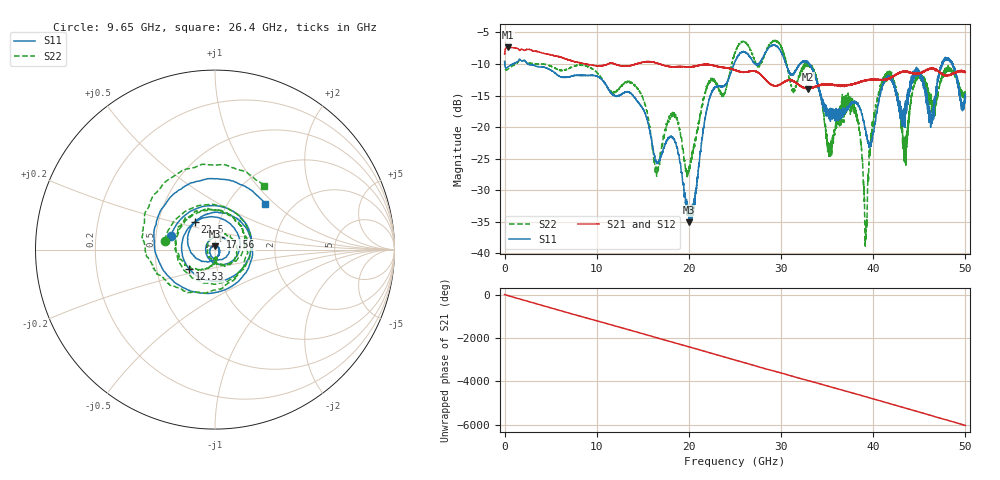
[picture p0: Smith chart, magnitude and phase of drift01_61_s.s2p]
!Created with skrf (http://scikit-rf.org).
# Hz S RI R 50.0
!freq ReS11 ImS11 ReS21 ImS21 ReS12 ImS12 ReS22 ImS22
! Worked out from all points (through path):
!   10001 points, 300 kHz to 50 GHz, reference 50 ohm
!   highest |S21| = -7.33 dB at 325.3 MHz (marker M1); lowest = -13.9 dB at 32.94 GHz (marker M2)
!   group delay of S21, straight-line fit = 335 ps
!   lowest |S11| = -35.1 dB at 20.01 GHz (marker M3), VSWR 1.04, Z = 49.9 + j1.76 ohm
!   |S11| at or under -10 dB: 2.566 GHz to 24.9 GHz (22.33 GHz wide, 163 % of centre); 30.53 GHz to 32.02 GHz (1.486 GHz wide, 4.75 % of centre); 33.07 GHz to 47.44 GHz (14.37 GHz wide, 35.7 % of centre) (the widest 3 of 19)
!   |S22| runs from -38.9 to -6.3 dB; largest |S21 - S12| = 0.01
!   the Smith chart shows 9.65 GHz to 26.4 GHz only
!   S11 on the Smith chart (normalised r, x): 9.65 GHz: 0.60, +0.10; 12.53 GHz: 0.73, -0.16; 17.56 GHz: 1.05, +0.15; 22.5 GHz: 0.76, +0.24; 26.4 GHz: 1.46, +0.87
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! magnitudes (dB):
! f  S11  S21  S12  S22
! 300 kHz  -9.6  -8.4  -8.5  -9.5
! 325.3 MHz  -10.5  -7.3  -7.3  -10.9
! 8.335 GHz  -11.8  -9.9  -9.9  -10.2
! 9.65 GHz  -11.8  -10.2  -10.2  -10.9
! 12.53 GHz  -14.9  -10.3  -10.2  -13.6
! 16.67 GHz  -25.7  -9.9  -9.9  -26.9
! 17.56 GHz  -22.3  -10.3  -10.3  -19.5
! 20.01 GHz  -35.1  -10.5  -10.5  -26.8
! 22.5 GHz  -14.4  -10.2  -10.2  -12.6
! 25 GHz  -9.6  -11.0  -11.0  -8.2
! 26.4 GHz  -8.5  -11.2  -11.2  -7.0
! 32.94 GHz  -10.0  -13.9  -13.8  -10.2
! 33.34 GHz  -10.7  -13.8  -13.8  -10.6
! 35.27 GHz  -17.8  -13.2  -13.2  -23.4
! 37.95 GHz  -15.9  -13.0  -13.1  -17.8
! 39.17 GHz  -20.4  -12.6  -12.6  -37.6
! 40.12 GHz  -20.1  -12.4  -12.4  -18.0
! 41.67 GHz  -12.0  -12.2  -12.3  -11.9
! 43.43 GHz  -17.9  -11.2  -11.3  -24.3
! 44.87 GHz  -10.8  -11.5  -11.5  -12.2
! 46.26 GHz  -19.5  -10.6  -10.7  -16.1
! 50 GHz  -15.5  -11.3  -11.3  -14.9
